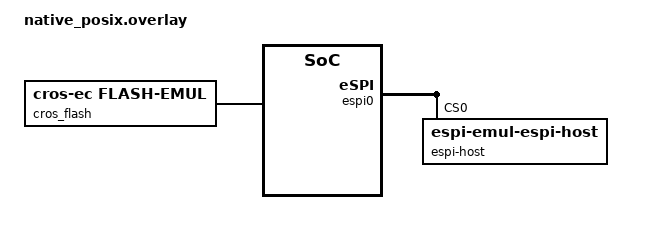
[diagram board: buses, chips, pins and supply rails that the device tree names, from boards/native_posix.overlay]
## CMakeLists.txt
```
# Copyright 2023 The ChromiumOS Authors
# Use of this source code is governed by a BSD-style license that can be
# found in the LICENSE file.

cmake_minimum_required(VERSION 3.13.1)
find_package(Zephyr REQUIRED HINTS "${ZEPHYR_BASE}")
project(amd)

add_subdirectory(${PLATFORM_EC}/zephyr/test/test_utils test_utils)

target_sources_ifdef(CONFIG_TEST_AMD_POWER app PRIVATE src/amd_power.c)
target_sources_ifdef(CONFIG_TEST_AMD_STB_DUMP app PRIVATE src/stb_dump.c)
```

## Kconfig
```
# Copyright 2023 The ChromiumOS Authors
# Use of this source code is governed by a BSD-style license that can be
# found in the LICENSE file.

config TEST_AMD_POWER
	bool "Enable general power sequencing tests"

source "Kconfig.zephyr"
```

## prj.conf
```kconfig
# Copyright 2023 The ChromiumOS Authors
# Use of this source code is governed by a BSD-style license that can be
# found in the LICENSE file.

CONFIG_ASSERT=y
CONFIG_TEST=y
CONFIG_ZTEST=y
CONFIG_ZTEST_ASSERT_VERBOSE=1
CONFIG_ZTEST_MOCKING=y

CONFIG_INPUT=y

# Print logs from Zephyr LOG_MODULE to stdout
CONFIG_UART_NATIVE_PTY_0_ON_STDINOUT=y

# Enable debugging features
CONFIG_DEBUG=y
CONFIG_X86_DEBUG_INFO=y
CONFIG_DEBUG_OPTIMIZATIONS=y
CONFIG_PLATFORM_EC_CONSOLE_DEBUG=y
CONFIG_SHELL_BACKEND_DUMMY=y

CONFIG_CROS_EC=y
CONFIG_EMUL=y
CONFIG_FLASH=y
CONFIG_GPIO=y
CONFIG_GPIO_GET_CONFIG=y
CONFIG_PLATFORM_EC=y
CONFIG_RING_BUFFER=y
CONFIG_SERIAL=y
CONFIG_SHELL_BACKEND_DUMMY=y
CONFIG_SHELL_BACKEND_DUMMY_BUF_SIZE=2000
CONFIG_SHELL_BACKEND_SERIAL=n
CONFIG_SHIMMED_TASKS=y

CONFIG_ESPI=y
CONFIG_EMUL_ESPI_HOST=y
CONFIG_ESPI_PERIPHERAL_ACPI_SHM_REGION=y
CONFIG_ESPI_PERIPHERAL_CUSTOM_OPCODE=y
CONFIG_ESPI_PERIPHERAL_EC_HOST_CMD=y
CONFIG_PLATFORM_EC_HOSTCMD=y
CONFIG_PLATFORM_EC_CHIPSET_RESET_HOOK=y

# AMD power sequencing
CONFIG_AP_X86_AMD=y
CONFIG_PLATFORM_EC_AMD_STB_DUMP=y
CONFIG_PLATFORM_EC_CHIPSET_RESET_HOOK=y
CONFIG_PLATFORM_EC_EXTPOWER=y
CONFIG_PLATFORM_EC_EXTPOWER_GPIO=y
CONFIG_PLATFORM_EC_HOST_INTERFACE_ESPI=y
CONFIG_PLATFORM_EC_LID_SWITCH=y
CONFIG_PLATFORM_EC_POWERSEQ=y
CONFIG_PLATFORM_EC_POWERSEQ_S0IX=y
CONFIG_PLATFORM_EC_POWERSEQ_HOST_SLEEP=y
CONFIG_PLATFORM_EC_POWERSEQ_S0IX_COUNTER=y
CONFIG_PLATFORM_EC_POWERSEQ_RSMRST_DELAY=y
CONFIG_PLATFORM_EC_POWER_BUTTON=y
CONFIG_PLATFORM_EC_POWER_SLEEP_FAILURE_DETECTION=y
```

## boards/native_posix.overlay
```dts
/* Copyright 2023 The ChromiumOS Authors
 * Use of this source code is governed by a BSD-style license that can be
 * found in the LICENSE file.
 */

#include <board-overlays/native_posix.dts>
#include <dt-bindings/gpio_defines.h>
#include <cros/binman.dtsi>

/ {
	chosen {
		cros-ec,espi = &espi0;
		cros-ec,flash-controller = &cros_flash;
	};
	aliases {
		gpio-wp = &gpio_wp_l;
	};
	cros_flash: cros-flash {
		compatible = "cros-ec,flash-emul";
	};

	/*
	 * Keep these GPIOs in pin order.
	 * If you need to add one, make sure you increase
	 * ngpios in the gpio0 node further down.
	 *
	 * Note that all outputs need to also be set as input pins to
	 * read them from a test.
	 */
	named-gpios {
		compatible = "named-gpios";

		gpio_acok_od: acok_od {
			gpios = <&gpio0 0 GPIO_INPUT>;
			enum-name = "GPIO_AC_PRESENT";
		};
		ec_bl_disable_l {
			gpios = <&gpio0 1 GPIO_INPUT>;
			enum-name = "GPIO_ENABLE_BACKLIGHT";
		};
		gpio_slp_s3_l: slp_s3_l {
			gpios = <&gpio0 2 GPIO_INPUT>;
			enum-name = "GPIO_PCH_SLP_S3_L";
			alias = "GPIO_PCH_SLP_S0_L";
		};
		gpio_slp_s5_l: slp_s5_l {
			gpios = <&gpio0 3 GPIO_INPUT>;
			enum-name = "GPIO_PCH_SLP_S5_L";
		};
		gpio_pg_pwr_s5: pg_pwr_s5 {
			gpios = <&gpio0 4 GPIO_INPUT>;
			enum-name = "GPIO_S5_PGOOD";
		};
		gpio_s0_pgood: s0_pgood {
			gpios = <&gpio0 5 GPIO_INPUT>;
			enum-name = "GPIO_S0_PGOOD";
		};
		gpio_en_pwr_s5: en_pwr_s5 {
			gpios = <&gpio0 6 (GPIO_OUTPUT_LOW | GPIO_INPUT)>;
			enum-name = "GPIO_EN_PWR_A";
		};
		gpio_wp_l: wp_l {
			gpios = <&gpio0 7 (GPIO_INPUT | GPIO_ACTIVE_LOW)>;
		};
		gpio_ec_soc_rsmrst_l: ec_soc_rsmrst_l {
			gpios = <&gpio0 8 (GPIO_OUTPUT_LOW | GPIO_INPUT)>;
			enum-name = "GPIO_PCH_RSMRST_L";
		};
		gpio_lid_open_ec: lid_open_ec {
			/* GPIO_PULL_UP will cause this start asserted. */
			gpios = <&gpio0 9 (GPIO_INPUT | GPIO_PULL_UP)>;
			enum-name = "GPIO_LID_OPEN";
		};
		gpio_mech_pwr_btn_odl: mech_pwr_btn_odl {
			/* PULL_UP to start as not pressed */
			gpios = <&gpio0 10 (GPIO_INPUT | GPIO_PULL_UP)>;
			enum-name = "GPIO_POWER_BUTTON_L";
		};
		gpio_ec_soc_pwr_btn_l: ec_soc_pwr_btn_l {
			gpios = <&gpio0 11 GPIO_OUTPUT_HIGH>;
			enum-name = "GPIO_PCH_PWRBTN_L";
		};
		gpio_sys_rst_l: ec_sys_rst_l {
			gpios = <&gpio0 12 GPIO_OUTPUT_HIGH>;
			enum-name = "GPIO_SYS_RESET_L";
		};
		gpio_prochot_odl: prochot_odl {
			gpios = <&gpio0 13 (GPIO_ODR_HIGH | GPIO_INPUT)>;
			enum-name = "GPIO_CPU_PROCHOT";
		};
		pch-sys-prwok {
			gpios = <&gpio0 14 (GPIO_OUTPUT_LOW | GPIO_INPUT)>;
			enum-name = "GPIO_PCH_SYS_PWROK";
		};
		gpio_ec_pch_wake_odl: ec_soc_wake_l {
			gpios = <&gpio0 15 GPIO_OUTPUT_HIGH>;
		};

		/* STB dumping GPIOs */
		gpio_ec_sfh_int_h: ec_sfh_int_h {
			gpios = <&gpio0 16 GPIO_OUTPUT_LOW>;
		};
		gpio_sfh_ec_int_h: sfh_ec_int_h {
			gpios = <&gpio0 17 GPIO_INPUT>;
		};

		gpio_ap_ec_int_l: ap_ec_int_l {
			gpios = <&gpio0 18 GPIO_OUTPUT_HIGH>;
			enum-name = "GPIO_EC_INT_L";
		};
	};

	gpio-interrupts {
		compatible = "cros-ec,gpio-interrupts";

		int_lid_open_ec: lid_open_ec {
			irq-pin = <&gpio_lid_open_ec>;
			flags = <GPIO_INT_EDGE_BOTH>;
			handler = "lid_interrupt";
		};
		int_power_button: power_button {
			irq-pin = <&gpio_mech_pwr_btn_odl>;
			flags = <GPIO_INT_EDGE_BOTH>;
			handler = "power_button_interrupt";
		};
		int_slp_s3: slp_s3 {
			irq-pin = <&gpio_slp_s3_l>;
			flags = <GPIO_INT_EDGE_BOTH>;
			handler = "power_signal_interrupt";
		};
		int_slp_s5: slp_s5 {
			irq-pin = <&gpio_slp_s5_l>;
			flags = <GPIO_INT_EDGE_BOTH>;
			handler = "power_signal_interrupt";
		};
		int_s5_pgood: s5_pgood {
			irq-pin = <&gpio_pg_pwr_s5>;
			flags = <GPIO_INT_EDGE_BOTH>;
			handler = "power_signal_interrupt";
		};
		int_s0_pgood: s0_pgood {
			irq-pin = <&gpio_s0_pgood>;
			flags = <GPIO_INT_EDGE_BOTH>;
			handler = "power_signal_interrupt";
		};
		int_stb_dump: stb_dump {
			irq-pin = <&gpio_sfh_ec_int_h>;
			flags = <GPIO_INT_EDGE_RISING>;
			handler = "amd_stb_dump_interrupt";
		};
	};
};

&gpio0 {
	ngpios = <19>;
};

&espi0 {
	espi-host@0 {
		status = "okay";
		compatible = "zephyr,espi-emul-espi-host";
		reg = <0x0>;
	};
};
```

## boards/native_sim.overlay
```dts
/* Copyright 2023 The ChromiumOS Authors
 * Use of this source code is governed by a BSD-style license that can be
 * found in the LICENSE file.
 */

#include <board-overlays/native_sim.dts>
#include <dt-bindings/gpio_defines.h>
#include <cros/binman.dtsi>

/ {
	chosen {
		cros-ec,espi = &espi0;
		cros-ec,flash-controller = &cros_flash;
	};
	aliases {
		gpio-wp = &gpio_wp_l;
	};
	cros_flash: cros-flash {
		compatible = "cros-ec,flash-emul";
	};

	/*
	 * Keep these GPIOs in pin order.
	 * If you need to add one, make sure you increase
	 * ngpios in the gpio0 node further down.
	 *
	 * Note that all outputs need to also be set as input pins to
	 * read them from a test.
	 */
	named-gpios {
		compatible = "named-gpios";

		gpio_acok_od: acok_od {
			gpios = <&gpio0 0 GPIO_INPUT>;
			enum-name = "GPIO_AC_PRESENT";
		};
		ec_bl_disable_l {
			gpios = <&gpio0 1 GPIO_INPUT>;
			enum-name = "GPIO_ENABLE_BACKLIGHT";
		};
		gpio_slp_s3_l: slp_s3_l {
			gpios = <&gpio0 2 GPIO_INPUT>;
			enum-name = "GPIO_PCH_SLP_S3_L";
			alias = "GPIO_PCH_SLP_S0_L";
		};
		gpio_slp_s5_l: slp_s5_l {
			gpios = <&gpio0 3 GPIO_INPUT>;
			enum-name = "GPIO_PCH_SLP_S5_L";
		};
		gpio_pg_pwr_s5: pg_pwr_s5 {
			gpios = <&gpio0 4 GPIO_INPUT>;
			enum-name = "GPIO_S5_PGOOD";
		};
		gpio_s0_pgood: s0_pgood {
			gpios = <&gpio0 5 GPIO_INPUT>;
			enum-name = "GPIO_S0_PGOOD";
		};
		gpio_en_pwr_s5: en_pwr_s5 {
			gpios = <&gpio0 6 (GPIO_OUTPUT_LOW | GPIO_INPUT)>;
			enum-name = "GPIO_EN_PWR_A";
		};
		gpio_wp_l: wp_l {
			gpios = <&gpio0 7 (GPIO_INPUT | GPIO_ACTIVE_LOW)>;
		};
		gpio_ec_soc_rsmrst_l: ec_soc_rsmrst_l {
			gpios = <&gpio0 8 (GPIO_OUTPUT_LOW | GPIO_INPUT)>;
			enum-name = "GPIO_PCH_RSMRST_L";
		};
		gpio_lid_open_ec: lid_open_ec {
			/* GPIO_PULL_UP will cause this start asserted. */
			gpios = <&gpio0 9 (GPIO_INPUT | GPIO_PULL_UP)>;
			enum-name = "GPIO_LID_OPEN";
		};
		gpio_mech_pwr_btn_odl: mech_pwr_btn_odl {
			/* PULL_UP to start as not pressed */
			gpios = <&gpio0 10 (GPIO_INPUT | GPIO_PULL_UP)>;
			enum-name = "GPIO_POWER_BUTTON_L";
		};
		gpio_ec_soc_pwr_btn_l: ec_soc_pwr_btn_l {
			gpios = <&gpio0 11 GPIO_OUTPUT_HIGH>;
			enum-name = "GPIO_PCH_PWRBTN_L";
		};
		gpio_sys_rst_l: ec_sys_rst_l {
			gpios = <&gpio0 12 GPIO_OUTPUT_HIGH>;
			enum-name = "GPIO_SYS_RESET_L";
		};
		gpio_prochot_odl: prochot_odl {
			gpios = <&gpio0 13 (GPIO_ODR_HIGH | GPIO_INPUT)>;
			enum-name = "GPIO_CPU_PROCHOT";
		};
		pch-sys-prwok {
			gpios = <&gpio0 14 (GPIO_OUTPUT_LOW | GPIO_INPUT)>;
			enum-name = "GPIO_PCH_SYS_PWROK";
		};
		gpio_ec_pch_wake_odl: ec_soc_wake_l {
			gpios = <&gpio0 15 GPIO_OUTPUT_HIGH>;
		};

		/* STB dumping GPIOs */
		gpio_ec_sfh_int_h: ec_sfh_int_h {
			gpios = <&gpio0 16 GPIO_OUTPUT_LOW>;
		};
		gpio_sfh_ec_int_h: sfh_ec_int_h {
			gpios = <&gpio0 17 GPIO_INPUT>;
		};

		gpio_ap_ec_int_l: ap_ec_int_l {
			gpios = <&gpio0 18 GPIO_OUTPUT_HIGH>;
			enum-name = "GPIO_EC_INT_L";
		};
	};

	gpio-interrupts {
		compatible = "cros-ec,gpio-interrupts";

		int_lid_open_ec: lid_open_ec {
			irq-pin = <&gpio_lid_open_ec>;
			flags = <GPIO_INT_EDGE_BOTH>;
			handler = "lid_interrupt";
		};
		int_power_button: power_button {
			irq-pin = <&gpio_mech_pwr_btn_odl>;
			flags = <GPIO_INT_EDGE_BOTH>;
			handler = "power_button_interrupt";
		};
		int_slp_s3: slp_s3 {
			irq-pin = <&gpio_slp_s3_l>;
			flags = <GPIO_INT_EDGE_BOTH>;
			handler = "power_signal_interrupt";
		};
		int_slp_s5: slp_s5 {
			irq-pin = <&gpio_slp_s5_l>;
			flags = <GPIO_INT_EDGE_BOTH>;
			handler = "power_signal_interrupt";
		};
		int_s5_pgood: s5_pgood {
			irq-pin = <&gpio_pg_pwr_s5>;
			flags = <GPIO_INT_EDGE_BOTH>;
			handler = "power_signal_interrupt";
		};
		int_s0_pgood: s0_pgood {
			irq-pin = <&gpio_s0_pgood>;
			flags = <GPIO_INT_EDGE_BOTH>;
			handler = "power_signal_interrupt";
		};
		int_stb_dump: stb_dump {
			irq-pin = <&gpio_sfh_ec_int_h>;
			flags = <GPIO_INT_EDGE_RISING>;
			handler = "amd_stb_dump_interrupt";
		};
	};
};

&gpio0 {
	ngpios = <19>;
};

&espi0 {
	espi-host@0 {
		status = "okay";
		compatible = "zephyr,espi-emul-espi-host";
		reg = <0x0>;
	};
};
```

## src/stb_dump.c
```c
/* Copyright 2023 The ChromiumOS Authors
 * Use of this source code is governed by a BSD-style license that can be
 * found in the LICENSE file.
 */
#include <zephyr/devicetree.h>
#include <zephyr/drivers/gpio.h>
#include <zephyr/drivers/gpio/gpio_emul.h>
#include <zephyr/fff.h>
#include <zephyr/ztest.h>

#include <driver/amd_stb.h>
#include <gpio.h>
#include <gpio/gpio_int.h>

ZTEST_SUITE(stb_dump, NULL, NULL, NULL, NULL, NULL);

ZTEST(stb_dump, test_stb_dump)
{
	const struct gpio_dt_spec *ec_sfh_int =
		GPIO_DT_FROM_NODELABEL(gpio_ec_sfh_int_h);
	const struct gpio_dt_spec *sfh_ec_int =
		GPIO_DT_FROM_NODELABEL(gpio_sfh_ec_int_h);
	int rv;

	gpio_enable_dt_interrupt(GPIO_INT_FROM_NODELABEL(int_stb_dump));
	amd_stb_dump_init(ec_sfh_int, sfh_ec_int);

	amd_stb_dump_trigger();
	rv = gpio_emul_output_get(ec_sfh_int->port, ec_sfh_int->pin);
	zassert_equal(rv, 1);
	zassert_true(amd_stb_dump_in_progress());

	rv = gpio_emul_input_set(sfh_ec_int->port, sfh_ec_int->pin, true);
	zassert_ok(rv);
	/* Give the interrupt handler plenty of time to run. */
	k_msleep(10);
	zassert_false(amd_stb_dump_in_progress());
	rv = gpio_emul_output_get(ec_sfh_int->port, ec_sfh_int->pin);
	zassert_equal(rv, 0);
}
```
